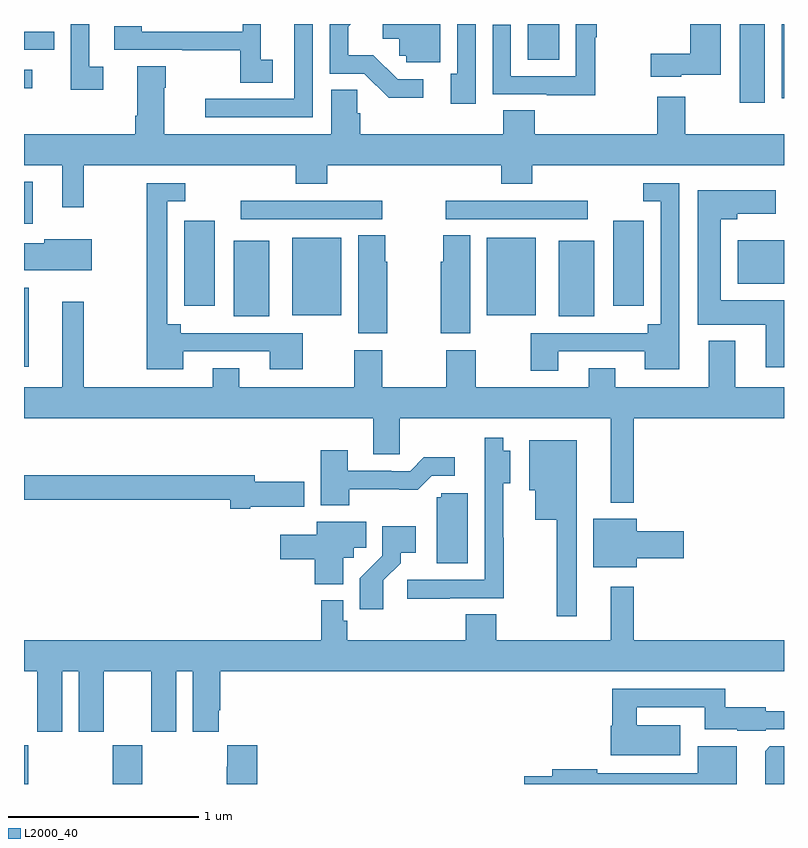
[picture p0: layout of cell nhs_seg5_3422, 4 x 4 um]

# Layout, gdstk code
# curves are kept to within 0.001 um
import gdstk
lib = gdstk.Library(unit=1e-6, precision=1e-09)
def R(c, l, rs):  # rectangles x0, y0, x1, y1
    for r in rs: c.add(gdstk.rectangle(r[:2], r[2:], *l))
def P(c, l, *ps):  # polygons
    for p in ps: c.add(gdstk.Polygon(p, *l))
L2000_40 = (2000, 40)

nhs_seg5_3422 = lib.new_cell('nhs_seg5_3422')
R(nhs_seg5_3422, L2000_40, [(311,890.799,311.022,891.004), (311.467,890.799,311.622,891.004), (311,892.995,311.026,893.41), (312.104,893.261,312.292,893.659), (313.814,893.261,314.002,893.659), (312.413,893.267,312.67,893.674), (313.436,893.267,313.693,893.674), (311.843,893.316,312.004,893.764), (314.102,893.316,314.263,893.764), (314.756,893.432,315,893.662), (311,893.748,311.047,893.968), (312.141,893.772,312.886,893.868), (313.221,893.772,313.966,893.868), (314.768,894.384,314.899,894.799), (314.987,894.408,315,894.799), (311,894.46,311.044,894.558), (313.652,894.61,313.816,894.799)])
P(nhs_seg5_3422, L2000_40, [(313.377,894.799),(313.281,894.799),(313.281,894.538),(313.247,894.538),(313.247,894.378),(313.377,894.378)],
  [(312.519,894.799),(312.422,894.799),(312.422,894.405),(311.955,894.405),(311.955,894.309),(312.519,894.309)],
  [(313.102,894.507),(312.966,894.507),(312.839,894.634),(312.706,894.634),(312.706,894.784),(312.721,894.799),(312.609,894.799),(312.609,894.537),(312.792,894.537),(312.92,894.41),(313.102,894.41)],
  [(312.31,894.612),(312.246,894.612),(312.246,894.799),(312.15,894.799),(312.15,894.759),(311.619,894.759),(311.619,894.787),(311.475,894.787),(311.475,894.663),(311.833,894.663),(311.833,894.661),(312.138,894.661),(312.138,894.49),(312.31,894.49)],
  [(313.192,894.799),(312.888,894.799),(312.888,894.722),(312.975,894.722),(312.975,894.633),(313.011,894.633),(313.011,894.597),(313.192,894.597)],
  [(314.46,894.533),(314.668,894.533),(314.668,894.799),(314.506,894.799),(314.506,894.643),(314.298,894.643),(314.298,894.521),(314.46,894.521)],
  [(314.006,894.729),(314.014,894.729),(314.014,894.799),(313.905,894.799),(313.905,894.525),(313.563,894.525),(313.563,894.796),(313.467,894.796),(313.467,894.429),(313.751,894.429),(313.751,894.425),(314.006,894.425)],
  [(311.416,894.573),(311.344,894.573),(311.344,894.799),(311.247,894.799),(311.247,894.453),(311.416,894.453)],
  [(311.158,894.758),(311.045,894.758),(311.045,894.759),(311,894.759),(311,894.663),(311.158,894.663)],
  [(311.315,894.056),(312.431,894.056),(312.431,893.957),(312.596,893.957),(312.596,894.056),(313.511,894.056),(313.511,893.957),(313.676,893.957),(313.676,894.056),(315,894.056),(315,894.22),(314.479,894.22),(314.479,894.415),(314.332,894.415),(314.332,894.22),(313.688,894.22),(313.688,894.344),(313.523,894.344),(313.523,894.22),(312.77,894.22),(312.77,894.33),(312.755,894.33),(312.755,894.452),(312.617,894.452),(312.617,894.22),(311.737,894.22),(311.737,894.464),(311.745,894.464),(311.745,894.577),(311.597,894.577),(311.597,894.316),(311.585,894.316),(311.585,894.22),(311,894.22),(311,894.056),(311.201,894.056),(311.201,893.835),(311.315,893.835)],
  [(311.839,893.076),(312.293,893.076),(312.293,892.982),(312.466,892.982),(312.466,893.172),(311.824,893.172),(311.824,893.218),(311.754,893.218),(311.754,893.865),(311.848,893.865),(311.848,893.961),(311.646,893.961),(311.646,892.982),(311.839,892.982)],
  [(313.813,893.076),(314.267,893.076),(314.267,892.982),(314.448,892.982),(314.448,893.961),(314.259,893.961),(314.259,893.865),(314.352,893.865),(314.352,893.218),(314.282,893.218),(314.282,893.172),(313.666,893.172),(313.666,892.974),(313.813,892.974)],
  [(315,893.344),(314.668,893.344),(314.668,893.771),(314.755,893.771),(314.755,893.801),(314.956,893.801),(314.956,893.923),(314.546,893.923),(314.546,893.216),(314.903,893.216),(314.903,892.992),(315,892.992)],
  [(313.348,893.687),(313.207,893.687),(313.207,893.547),(313.193,893.547),(313.193,893.171),(313.348,893.171)],
  [(312.913,893.547),(312.9,893.547),(312.9,893.687),(312.758,893.687),(312.758,893.171),(312.913,893.171)],
  [(311.356,893.665),(311.106,893.665),(311.106,893.644),(311,893.644),(311,893.504),(311.356,893.504)],
  [(314.209,892.724),(315,892.724),(315,892.888),(314.743,892.888),(314.743,893.131),(314.603,893.131),(314.603,892.888),(314.113,892.888),(314.113,892.987),(313.973,892.987),(313.973,892.888),(313.377,892.888),(313.377,893.083),(313.222,893.083),(313.222,892.888),(312.885,892.888),(312.885,893.083),(312.737,893.083),(312.737,892.888),(312.133,892.888),(312.133,892.987),(311.993,892.987),(311.993,892.888),(311.315,892.888),(311.315,893.338),(311.201,893.338),(311.201,892.888),(311,892.888),(311,892.724),(312.839,892.724),(312.839,892.534),(312.978,892.534),(312.978,892.724),(314.087,892.724),(314.087,892.28),(314.209,892.28)],
  [(313.241,891.777),(313.526,891.777),(313.526,892.094),(313.522,892.094),(313.522,892.382),(313.558,892.382),(313.558,892.552),(313.522,892.552),(313.522,892.621),(313.424,892.621),(313.424,892.398),(313.425,892.398),(313.425,891.873),(313.017,891.873),(313.017,891.775),(313.241,891.775)],
  [(313.909,892.609),(313.658,892.609),(313.658,892.346),(313.691,892.346),(313.691,892.19),(313.803,892.19),(313.803,891.681),(313.909,891.681)],
  [(312.711,892.35),(313.073,892.349),(313.146,892.422),(313.267,892.422),(313.267,892.519),(313.105,892.519),(313.032,892.446),(312.932,892.446),(312.932,892.449),(312.703,892.449),(312.703,892.555),(312.563,892.555),(312.563,892.265),(312.711,892.265)],
  [(312.19,892.259),(312.475,892.259),(312.475,892.389),(312.214,892.389),(312.214,892.423),(311,892.423),(311,892.294),(312.086,892.294),(312.086,892.247),(312.19,892.247)],
  [(313.336,892.329),(313.197,892.329),(313.197,892.308),(313.172,892.308),(313.172,891.96),(313.336,891.96)],
  [(314.224,891.988),(314.473,891.988),(314.473,892.13),(314.224,892.13),(314.224,892.195),(313.997,892.195),(313.997,891.941),(314.224,891.941)],
  [(312.679,891.99),(312.735,891.99),(312.735,892.042),(312.8,892.042),(312.8,892.18),(312.542,892.18),(312.542,892.111),(312.348,892.111),(312.348,891.982),(312.53,891.982),(312.53,891.851),(312.679,891.851)],
  [(312.892,891.871),(312.982,891.961),(312.982,892.016),(313.063,892.016),(313.063,892.156),(312.885,892.156),(312.885,892.001),(312.766,891.882),(312.766,891.72),(312.892,891.72)],
  [(315,891.556),(314.209,891.556),(314.209,891.838),(314.087,891.838),(314.087,891.556),(313.485,891.556),(313.485,891.692),(313.325,891.692),(313.325,891.556),(312.701,891.556),(312.701,891.657),(312.681,891.657),(312.681,891.766),(312.565,891.766),(312.565,891.556),(311,891.556),(311,891.392),(311.069,891.392),(311.069,891.075),(311.2,891.075),(311.2,891.392),(311.288,891.392),(311.288,891.075),(311.419,891.075),(311.419,891.392),(311.669,891.392),(311.669,891.075),(311.8,891.075),(311.8,891.392),(311.888,891.392),(311.888,891.075),(312.025,891.075),(312.025,891.187),(312.032,891.187),(312.032,891.392),(315,891.392)],
  [(314.455,891.109),(314.224,891.109),(314.224,891.204),(314.583,891.204),(314.583,891.086),(314.754,891.086),(314.754,891.08),(314.904,891.08),(314.904,891.087),(315,891.087),(315,891.183),(314.904,891.183),(314.904,891.202),(314.692,891.202),(314.692,891.3),(314.095,891.3),(314.095,891.105),(314.087,891.105),(314.087,890.951),(314.455,890.951)],
  [(312.227,891.004),(312.071,891.004),(312.071,890.891),(312.067,890.891),(312.067,890.799),(312.227,890.799)],
  [(314.752,890.998),(314.546,890.998),(314.546,890.856),(314.016,890.856),(314.016,890.876),(313.781,890.876),(313.781,890.84),(313.632,890.84),(313.632,890.799),(314.752,890.799)],
  [(315,890.998),(314.926,890.998),(314.9,890.972),(314.9,890.799),(315,890.799)])

lib.write_gds('nhs_seg5_3422.gds')
